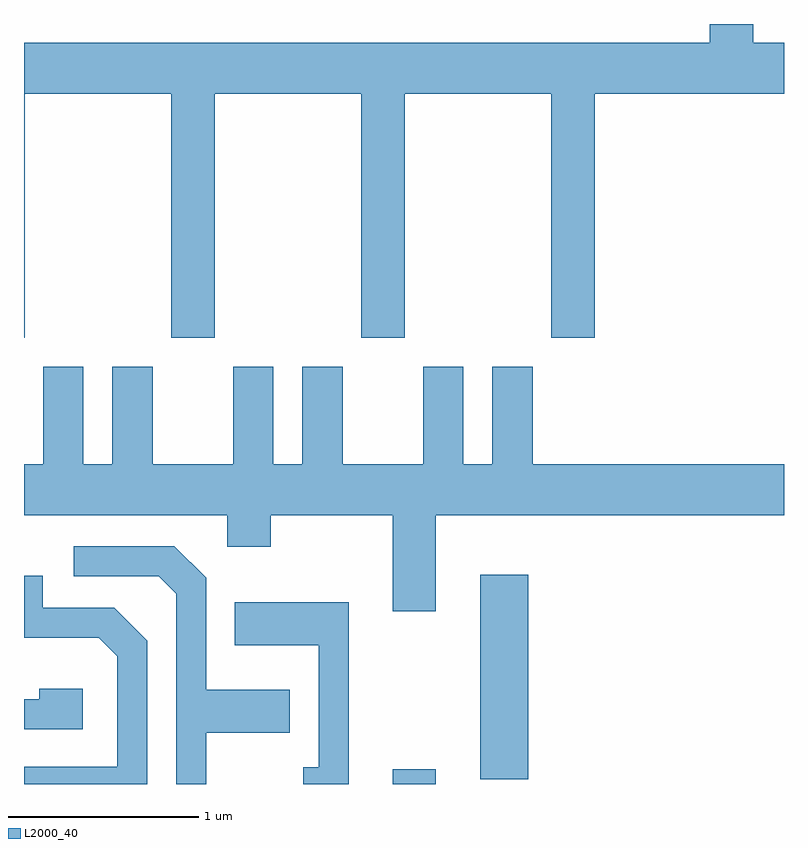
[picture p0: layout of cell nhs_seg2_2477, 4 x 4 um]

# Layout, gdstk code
import gdstk
lib = gdstk.Library(unit=1e-6, precision=1e-09)
def R(c, l, rs):  # rectangles x0, y0, x1, y1
    for r in rs: c.add(gdstk.rectangle(r[:2], r[2:], *l))
def P(c, l, *ps):  # polygons
    for p in ps: c.add(gdstk.Polygon(p, *l))
L2000_40 = (2000, 40)

nhs_seg2_2477 = lib.new_cell('nhs_seg2_2477')
R(nhs_seg2_2477, L2000_40, [(259.551,1035.802,259.779,1035.879), (260.011,1035.826,260.264,1036.904)])
P(nhs_seg2_2477, L2000_40, [(257.614,1039.436),(258.386,1039.436),(258.386,1038.151),(258.614,1038.151),(258.614,1039.436),(259.386,1039.436),(259.386,1038.151),(259.614,1038.151),(259.614,1039.436),(260.386,1039.436),(260.386,1038.151),(260.614,1038.151),(260.614,1039.436),(261.611,1039.436),(261.611,1039.704),(261.449,1039.704),(261.449,1039.802),(261.221,1039.802),(261.221,1039.704),(257.611,1039.704),(257.611,1038.151),(257.614,1038.151)],
  [(259.289,1037.999),(259.076,1037.999),(259.076,1037.484),(258.924,1037.484),(258.924,1037.999),(258.711,1037.999),(258.711,1037.484),(258.289,1037.484),(258.289,1037.999),(258.076,1037.999),(258.076,1037.484),(257.924,1037.484),(257.924,1037.999),(257.711,1037.999),(257.711,1037.484),(257.611,1037.484),(257.611,1037.216),(258.681,1037.216),(258.681,1037.051),(258.909,1037.051),(258.909,1037.216),(259.551,1037.216),(259.551,1036.711),(259.779,1036.711),(259.779,1037.216),(261.611,1037.216),(261.611,1037.484),(260.289,1037.484),(260.289,1037.999),(260.076,1037.999),(260.076,1037.484),(259.924,1037.484),(259.924,1037.999),(259.711,1037.999),(259.711,1037.484),(259.289,1037.484)],
  [(258.569,1036.071),(259.009,1036.071),(259.009,1036.299),(258.569,1036.299),(258.569,1036.887),(258.402,1037.054),(257.873,1037.054),(257.873,1036.896),(258.319,1036.896),(258.411,1036.804),(258.411,1035.802),(258.569,1035.802)],
  [(258.259,1036.556),(258.087,1036.729),(257.709,1036.729),(257.709,1036.899),(257.611,1036.899),(257.611,1036.571),(258.004,1036.571),(258.101,1036.474),(258.101,1035.894),(257.611,1035.894),(257.611,1035.802),(258.259,1035.802)],
  [(259.319,1036.759),(258.721,1036.759),(258.721,1036.531),(259.161,1036.531),(259.161,1035.889),(259.082,1035.889),(259.082,1035.802),(259.319,1035.802)],
  [(257.919,1036.304),(257.691,1036.304),(257.691,1036.249),(257.611,1036.249),(257.611,1036.091),(257.919,1036.091)])

lib.write_gds('nhs_seg2_2477.gds')
